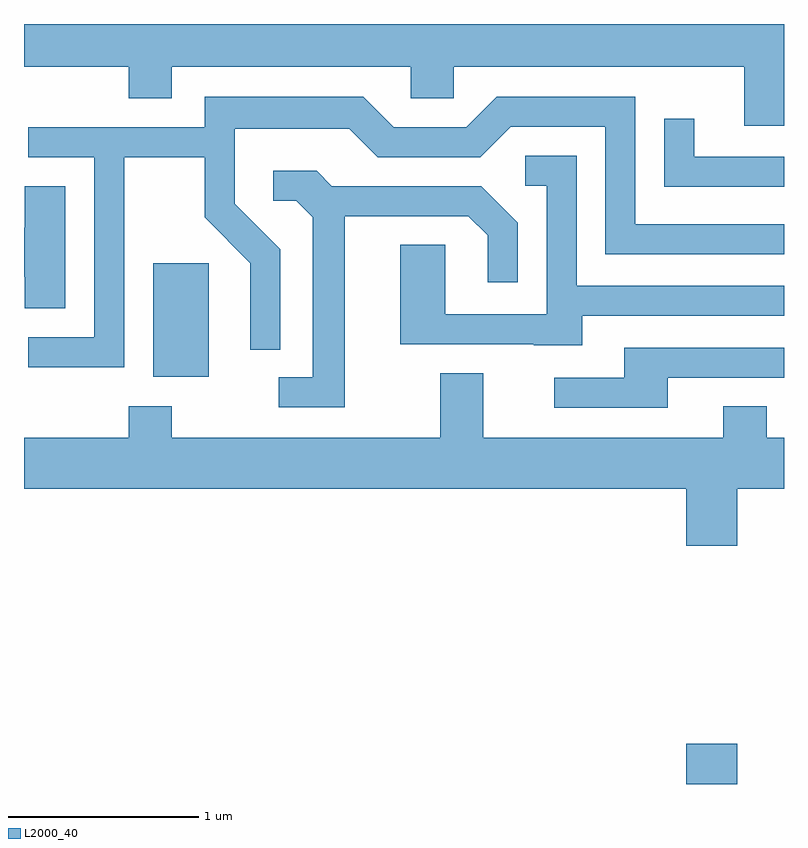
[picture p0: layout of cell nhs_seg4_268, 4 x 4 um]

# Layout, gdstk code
import gdstk
lib = gdstk.Library(unit=1e-6, precision=1e-09)
def R(c, l, rs):  # rectangles x0, y0, x1, y1
    for r in rs: c.add(gdstk.rectangle(r[:2], r[2:], *l))
def P(c, l, *ps):  # polygons
    for p in ps: c.add(gdstk.Polygon(p, *l))
L2000_40 = (2000, 40)

nhs_seg4_268 = lib.new_cell('nhs_seg4_268')
R(nhs_seg4_268, L2000_40, [(195.096,1381.982,195.364,1382.194), (192.291,1384.126,192.584,1384.724)])
P(nhs_seg4_268, L2000_40, [(195.611,1385.982),(191.611,1385.982),(191.611,1385.756),(192.161,1385.756),(192.161,1385.591),(192.389,1385.591),(192.389,1385.756),(193.646,1385.756),(193.646,1385.591),(193.874,1385.591),(193.874,1385.756),(195.401,1385.756),(195.401,1385.446),(195.611,1385.446)],
  [(192.139,1385.281),(192.561,1385.281),(192.561,1384.964),(192.801,1384.724),(192.801,1384.268),(192.959,1384.268),(192.959,1384.797),(192.719,1385.037),(192.719,1385.431),(193.324,1385.431),(193.474,1385.281),(194.012,1385.281),(194.172,1385.441),(194.671,1385.441),(194.671,1384.771),(195.611,1384.771),(195.611,1384.929),(194.829,1384.929),(194.829,1385.599),(194.099,1385.599),(193.939,1385.439),(193.557,1385.439),(193.397,1385.599),(192.561,1385.599),(192.561,1385.439),(191.633,1385.439),(191.633,1385.281),(191.981,1385.281),(191.981,1384.334),(191.633,1384.334),(191.633,1384.176),(192.139,1384.176)],
  [(195.611,1385.284),(195.139,1385.284),(195.139,1385.483),(194.981,1385.483),(194.981,1385.126),(195.611,1385.126)],
  [(194.549,1384.446),(195.611,1384.446),(195.611,1384.604),(194.519,1384.604),(194.519,1385.289),(194.248,1385.289),(194.248,1385.131),(194.361,1385.131),(194.361,1384.454),(193.829,1384.454),(193.829,1384.819),(193.591,1384.819),(193.591,1384.296),(194.295,1384.296),(194.295,1384.291),(194.549,1384.291)],
  [(193.299,1384.971),(193.949,1384.971),(194.051,1384.869),(194.051,1384.623),(194.209,1384.623),(194.209,1384.937),(194.017,1385.129),(193.232,1385.129),(193.152,1385.209),(192.923,1385.209),(192.923,1385.051),(193.044,1385.051),(193.131,1384.964),(193.131,1384.124),(192.953,1384.124),(192.953,1383.966),(193.299,1383.966)],
  [(191.829,1385.129),(191.616,1385.129),(191.616,1384.909),(191.611,1384.909),(191.611,1384.651),(191.616,1384.651),(191.616,1384.486),(191.829,1384.486)],
  [(194.999,1384.121),(195.611,1384.121),(195.611,1384.279),(194.771,1384.279),(194.771,1384.119),(194.403,1384.119),(194.403,1383.961),(194.999,1383.961)],
  [(195.364,1383.536),(195.611,1383.536),(195.611,1383.804),(195.519,1383.804),(195.519,1383.969),(195.291,1383.969),(195.291,1383.804),(194.029,1383.804),(194.029,1384.144),(193.801,1384.144),(193.801,1383.804),(192.389,1383.804),(192.389,1383.969),(192.161,1383.969),(192.161,1383.804),(191.611,1383.804),(191.611,1383.536),(195.096,1383.536),(195.096,1383.236),(195.364,1383.236)])

lib.write_gds('nhs_seg4_268.gds')
